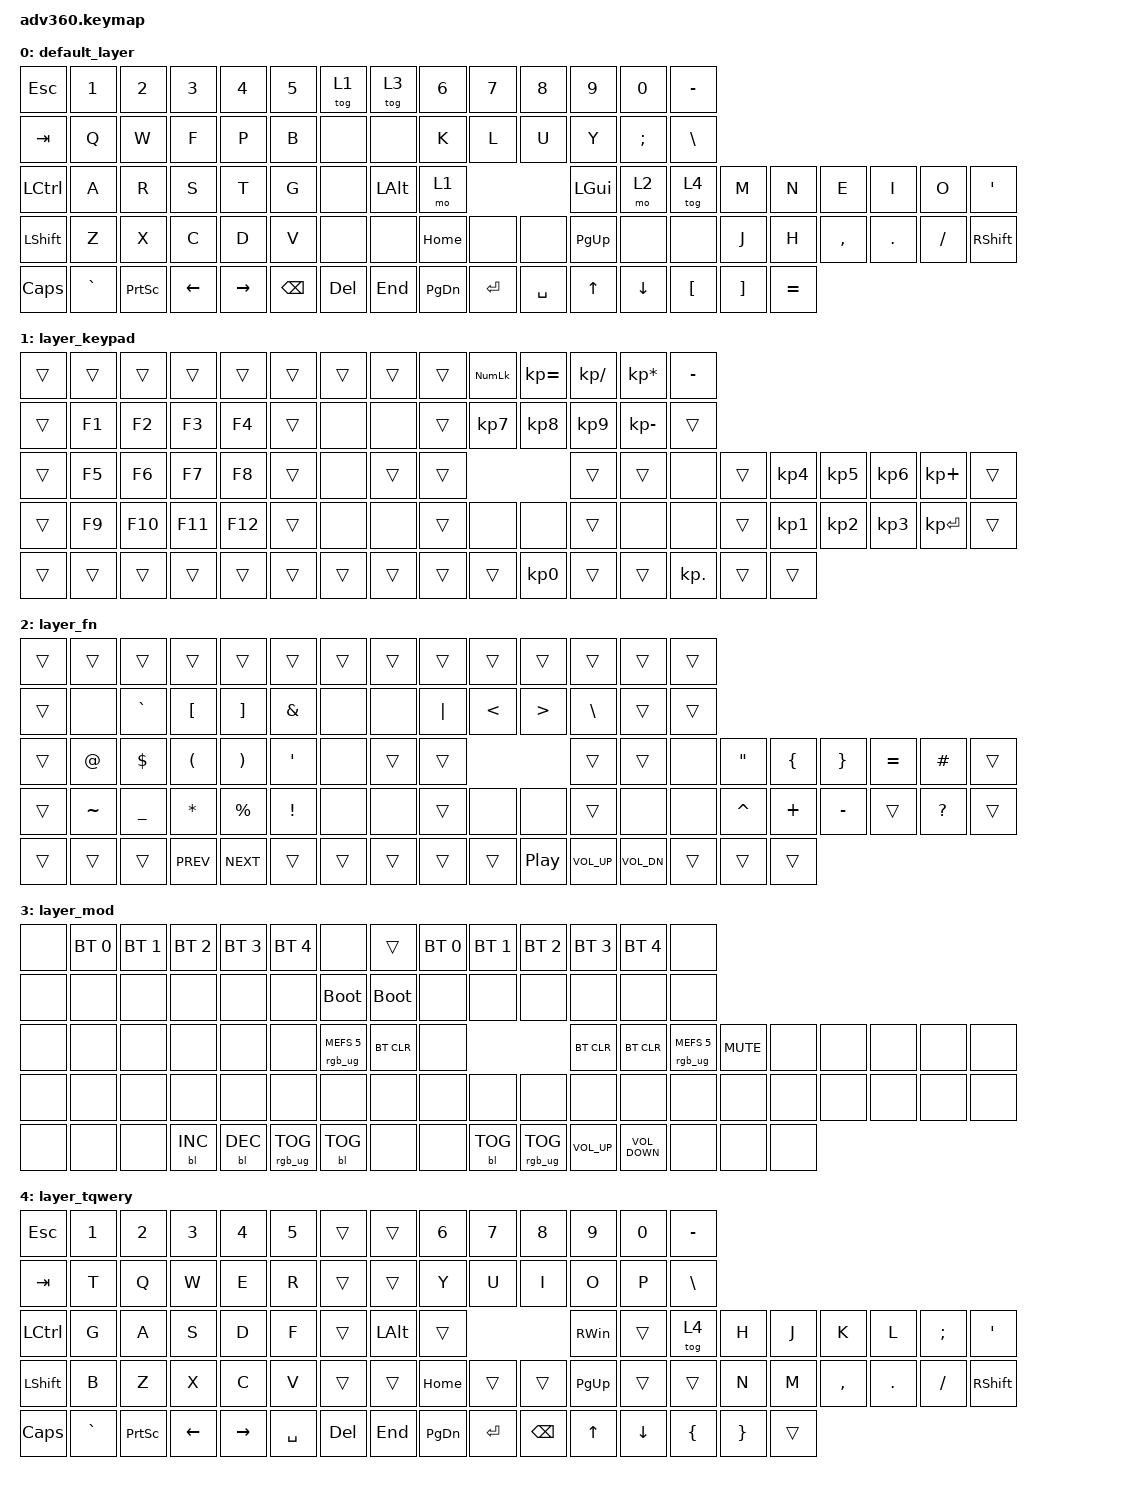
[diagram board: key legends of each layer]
/*
 * Copyright (c) 2020 The ZMK Contributors
 *
 * SPDX-License-Identifier: MIT
 */
/* THIS FILE WAS GENERATED!
 *
 * This file was generated automatically. You may or may not want to
 * edit it directly.
 */

#include <behaviors.dtsi>
#include <dt-bindings/zmk/backlight.h>
#include <dt-bindings/zmk/bt.h>
#include <dt-bindings/zmk/keys.h>
#include <dt-bindings/zmk/rgb.h>

/ {
    behaviors {
        #include "macros.dtsi"
    #include "version.dtsi"

        hm: homerow_mods {
            compatible = "zmk,behavior-hold-tap";
            label = "HOMEROW_MODS";
            #binding-cells = <2>;
            tapping-term-ms = <200>;
            quick_tap_ms = <175>;
            flavor = "tap-preferred";
            bindings = <&kp>, <&kp>;
        };
    };

    keymap {
        compatible = "zmk,keymap";

        default_layer {
            bindings = <
&kp ESC           &kp N1     &kp N2           &kp N3    &kp N4     &kp N5         &tog 1   &tog 3        &kp N6     &kp N7     &kp N8     &kp N9        &kp N0         &kp MINUS
&kp TAB           &kp Q      &kp W            &kp F     &kp P      &kp B          &none    &none         &kp K      &kp L      &kp U      &kp Y         &kp SEMICOLON  &kp BSLH
&kp LEFT_CONTROL  &kp A      &kp R            &kp S     &kp T      &kp G          &none    &kp LEFT_ALT  &mo 1                            &kp LEFT_GUI  &mo 2          &tog 4     &kp M     &kp N      &kp E      &kp I    &kp O     &kp SQT
&kp LSHFT         &kp Z      &kp X            &kp C     &kp D      &kp V          &none    &none         &kp HOME   &none      &none      &kp PG_UP     &none          &none      &kp J     &kp H      &kp COMMA  &kp DOT  &kp FSLH  &kp RSHFT
&kp CAPS          &kp GRAVE  &kp PRINTSCREEN  &kp LEFT  &kp RIGHT  &kp BACKSPACE  &kp DEL  &kp END       &kp PG_DN  &kp ENTER  &kp SPACE  &kp UP        &kp DOWN       &kp LBKT   &kp RBKT  &kp EQUAL
            >;
        };

        layer_keypad {
            bindings = <
&trans  &trans  &trans   &trans   &trans   &trans  &trans  &trans  &trans  &kp KP_NUM  &kp KP_EQUAL  &kp KP_DIVIDE  &kp KP_MULTIPLY  &kp MINUS
&trans  &kp F1  &kp F2   &kp F3   &kp F4   &trans  &none   &none   &trans  &kp KP_N7   &kp KP_N8     &kp KP_N9      &kp KP_MINUS     &trans
&trans  &kp F5  &kp F6   &kp F7   &kp F8   &trans  &none   &trans  &trans                            &trans         &trans           &none       &trans  &kp KP_N4  &kp KP_N5  &kp KP_N6  &kp KP_PLUS   &trans
&trans  &kp F9  &kp F10  &kp F11  &kp F12  &trans  &none   &none   &trans  &none       &none         &trans         &none            &none       &trans  &kp KP_N1  &kp KP_N2  &kp KP_N3  &kp KP_ENTER  &trans
&trans  &trans  &trans   &trans   &trans   &trans  &trans  &trans  &trans  &trans      &kp KP_N0     &trans         &trans           &kp KP_DOT  &trans  &trans
            >;
        };

        layer_fn {
            bindings = <
&trans  &trans       &trans          &trans                &trans                 &trans            &trans  &trans  &trans    &trans         &trans            &trans         &trans        &trans
&trans  &none        &kp GRAVE       &kp LEFT_BRACKET      &kp RIGHT_BRACKET      &kp AMPERSAND     &none   &none   &kp PIPE  &kp LESS_THAN  &kp GREATER_THAN  &kp BACKSLASH  &trans        &trans
&trans  &kp AT_SIGN  &kp DOLLAR      &kp LEFT_PARENTHESIS  &kp RIGHT_PARENTHESIS  &kp SINGLE_QUOTE  &none   &trans  &trans                                     &trans         &trans        &none   &kp DOUBLE_QUOTES  &kp LEFT_BRACE  &kp RIGHT_BRACE  &kp EQUAL  &kp HASH      &trans
&trans  &kp TILDE    &kp UNDERSCORE  &kp ASTERISK          &kp PERCENT            &kp EXCLAMATION   &none   &none   &trans    &none          &none             &trans         &none         &none   &kp CARET          &kp PLUS        &kp MINUS        &trans     &kp QUESTION  &trans
&trans  &trans       &trans          &kp C_PREV            &kp C_NEXT             &trans            &trans  &trans  &trans    &trans         &kp C_PLAY_PAUSE  &kp C_VOL_UP   &kp C_VOL_DN  &trans  &trans             &trans
            >;
        };

        layer_mod {
            bindings = <
&none  &bt BT_SEL 0  &bt BT_SEL 1  &bt BT_SEL 2  &bt BT_SEL 3  &bt BT_SEL 4     &none                   &trans       &bt BT_SEL 0  &bt BT_SEL 1  &bt BT_SEL 2     &bt BT_SEL 3     &bt BT_SEL 4       &none
&none  &none         &none         &none         &none         &none            &bootloader             &bootloader  &none         &none         &none            &none            &none              &none
&none  &none         &none         &none         &none         &none            &rgb_ug RGB_MEFS_CMD 5  &bt BT_CLR   &none                                        &bt BT_CLR       &bt BT_CLR         &rgb_ug RGB_MEFS_CMD 5  &kp C_MUTE  &none  &none  &none  &none  &none
&none  &none         &none         &none         &none         &none            &none                   &none        &none         &none         &none            &none            &none              &none                   &none       &none  &none  &none  &none  &none
&none  &none         &none         &bl BL_INC    &bl BL_DEC    &rgb_ug RGB_TOG  &bl BL_TOG              &none        &none         &bl BL_TOG    &rgb_ug RGB_TOG  &kp C_VOLUME_UP  &kp C_VOLUME_DOWN  &none                   &none       &none
            >;
        };

        layer_tqwery {
            bindings = <
&kp ESC           &kp NUMBER_1  &kp NUMBER_2     &kp NUMBER_3    &kp NUMBER_4     &kp NUMBER_5  &trans   &trans        &kp NUMBER_6   &kp NUMBER_7  &kp NUMBER_8   &kp NUMBER_9   &kp NUMBER_0    &kp MINUS
&kp TAB           &kp T         &kp Q            &kp W           &kp E            &kp R         &trans   &trans        &kp Y          &kp U         &kp I          &kp O          &kp P           &kp BACKSLASH
&kp LEFT_CONTROL  &kp G         &kp A            &kp S           &kp D            &kp F         &trans   &kp LEFT_ALT  &trans                                      &kp RIGHT_WIN  &trans          &tog 4          &kp H            &kp J   &kp K      &kp L       &kp SEMICOLON  &kp SINGLE_QUOTE
&kp LEFT_SHIFT    &kp B         &kp Z            &kp X           &kp C            &kp V         &trans   &trans        &kp HOME       &trans        &trans         &kp PAGE_UP    &trans          &trans          &kp N            &kp M   &kp COMMA  &kp PERIOD  &kp SLASH      &kp RIGHT_SHIFT
&kp CAPS          &kp GRAVE     &kp PRINTSCREEN  &kp LEFT_ARROW  &kp RIGHT_ARROW  &kp SPACE     &kp DEL  &kp END       &kp PAGE_DOWN  &kp ENTER     &kp BACKSPACE  &kp UP_ARROW   &kp DOWN_ARROW  &kp LEFT_BRACE  &kp RIGHT_BRACE  &trans
            >;
        };
    };
};
